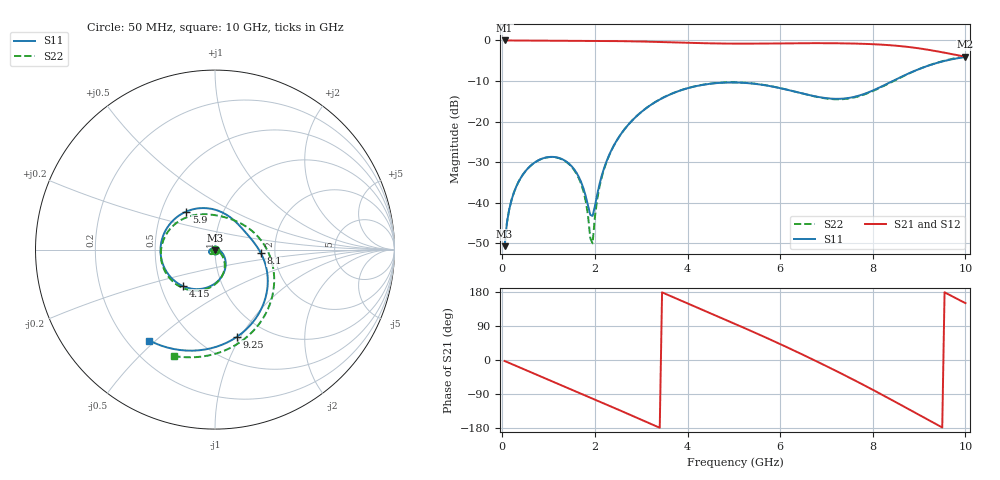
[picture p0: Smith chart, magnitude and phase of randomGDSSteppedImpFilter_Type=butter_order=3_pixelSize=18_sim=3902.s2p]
! freq	dB(S11)	phase(S11)	dB(S12)	phase(S12)
!  dB(S21)	phase(S21)	dB(S22)	phase(S22)
!S-par simulation data
#  GHz  S  DB  R 50
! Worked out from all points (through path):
!   200 points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, 50 MHz to 10 GHz, reference 50 ohm
!   highest |S21| = 0.00 dB at 50 MHz (marker M1); lowest = -4.0 dB at 10 GHz (marker M2)
!   group delay of S21, straight-line fit = 156 ps
!   lowest |S11| = -50.7 dB at 50 MHz (marker M3), VSWR 1.01, Z = 50 - j0.292 ohm
!   |S11| at or under -10 dB: start of sweep to 8.43 GHz
!   |S22| runs from -50.7 to -3.9 dB; largest |S21 - S12| = 0
!   S11 on the Smith chart (normalised r, x): 50 MHz: 1.00, -0.01; 4.15 GHz: 0.65, -0.28; 5.9 GHz: 0.67, +0.30; 8.1 GHz: 1.68, -0.07; 9.25 GHz: 0.75, -0.97; 10 GHz: 0.29, -0.48
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0.05  -50.67 -92.5  -0.00 -2.6  -0.00 -2.6  -50.67 -92.2
0.15  -41.59 -99.6  -0.01 -7.8  -0.01 -7.8  -41.59 -98.9
0.25  -37.48 -105.6  -0.02 -13.0  -0.02 -13.0  -37.48 -104.4
0.7  -30.06 -130.3  -0.04 -36.4  -0.04 -36.4  -30.08 -126.6
1.35  -29.59 -168.9  -0.08 -70.2  -0.08 -70.2  -29.67 -158.0
1.75  -36.35 154.2  -0.10 -91.1  -0.10 -91.1  -37.04 -171.9
1.9  -42.95 102.4  -0.10 -99.0  -0.10 -99.0  -48.70 -144.6
1.95  -43.22 64.8  -0.11 -101.6  -0.11 -101.6  -49.99 -71.6
2.1  -35.36 3.7  -0.12 -109.5  -0.12 -109.5  -35.95 -29.9
2.35  -27.18 -24.5  -0.14 -122.8  -0.14 -122.8  -27.25 -36.7
2.9  -18.65 -60.5  -0.24 -152.1  -0.24 -152.1  -18.63 -62.8
3.4  -14.55 -89.4  -0.38 -178.9  -0.38 -178.9  -14.52 -87.9
4.15  -11.35 -131.5  -0.62 141.4  -0.62 141.4  -11.31 -125.3
5.05  -10.36 178.0  -0.79 93.9  -0.79 93.9  -10.32 -169.3
5.9  -11.51 127.2  -0.74 47.6  -0.74 47.6  -11.48 149.0
6.7  -13.63 75.9  -0.67 1.6  -0.67 1.6  -13.68 108.1
7.35  -14.33 36.2  -0.71 -37.6  -0.71 -37.6  -14.46 69.4
8.1  -11.83 -4.5  -0.98 -85.0  -0.98 -85.0  -11.96 15.6
8.35  -10.45 -18.7  -1.15 -101.5  -1.15 -101.5  -10.55 -2.7
8.85  -7.75 -49.4  -1.72 -134.9  -1.72 -134.9  -7.78 -38.2
9.25  -6.02 -75.6  -2.40 -161.6  -2.40 -161.6  -5.99 -65.1
10  -4.08 -125.8  -4.00 150.1  -4.00 150.1  -3.94 -111.3
